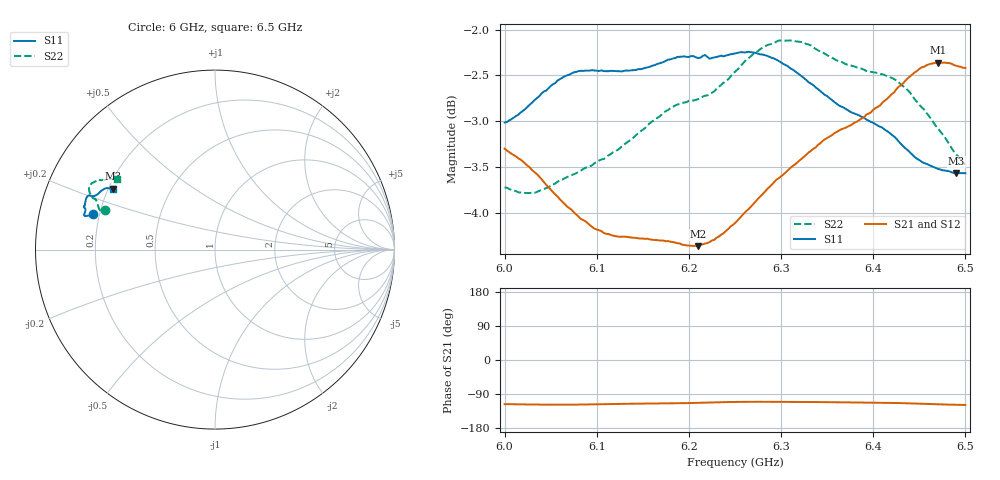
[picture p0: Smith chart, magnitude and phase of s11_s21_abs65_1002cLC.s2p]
! MS46122B
! 1919307/90821646
! 6/13/2022 11:58:03 AM
! C:\USERS\PC_\DESKTOP\CARACTERIZACION\MEDICIONES\BANCHA ESTRECHA\6_65_GHZ\S11_S21_ABS65_1002CL.S2P
! CHANNEL.1
! TR.MEASUREMENT
! CORRECTED.DATA
# GHZ S RI R 50.0
! FREQ.GHZ  S11RE  S11IM  S21RE  S21IM  S12RE  S12IM  S22RE  S22IM
!; PortSelection: Port_12
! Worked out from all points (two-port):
!   201 points, 6 GHz to 6.5 GHz, reference 50 ohm
!   highest |S21| = -2.36 dB at 6.47 GHz (marker M1); lowest = -4.4 dB at 6.21 GHz (marker M2)
!   |S21| within 3 dB of the highest: start of sweep to end of sweep
!   lowest |S11| = -3.6 dB at 6.49 GHz (marker M3), VSWR 4.94, Z = 10.9 + j13.2 ohm
!   |S11| at or under -10 dB: nowhere
!   |S22| runs from -3.8 to -2.1 dB; largest |S21 - S12| = 0.018
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6  -0.6792 0.1958  -0.3052 -0.6121  -0.2931 -0.6088  -0.6136 0.2188
6.0325  -0.7017 0.1902  -0.3077 -0.5886  -0.2998 -0.5842  -0.6039 0.2325
6.0575  -0.7211 0.1876  -0.3029 -0.5683  -0.2918 -0.5617  -0.6145 0.2304
6.085  -0.7294 0.1918  -0.289 -0.5547  -0.2761 -0.5485  -0.6296 0.219
6.1025  -0.7269 0.2003  -0.2789 -0.5509  -0.264 -0.5452  -0.6383 0.2163
6.115  -0.7247 0.2091  -0.2731 -0.5498  -0.2575 -0.5452  -0.6424 0.2209
6.1675  -0.7254 0.2307  -0.2556 -0.5534  -0.2383 -0.5505  -0.6593 0.2684
6.19  -0.7304 0.2361  -0.248 -0.5544  -0.2304 -0.5541  -0.6659 0.2825
6.21  -0.7274 0.2412  -0.2373 -0.5567  -0.2203 -0.5591  -0.6707 0.283
6.235  -0.7242 0.258  -0.2246 -0.5715  -0.2088 -0.5738  -0.6825 0.2886
6.25  -0.7207 0.2738  -0.2201 -0.5828  -0.2053 -0.5863  -0.6905 0.3009
6.2675  -0.715 0.2912  -0.2202 -0.5968  -0.2045 -0.6016  -0.6986 0.3199
6.285  -0.7075 0.3001  -0.2252 -0.61  -0.2096 -0.6149  -0.7021 0.3374
6.3125  -0.6929 0.301  -0.2342 -0.6269  -0.2191 -0.6345  -0.696 0.3597
6.335  -0.6782 0.298  -0.2435 -0.6391  -0.2299 -0.6476  -0.682 0.3722
6.3575  -0.6578 0.306  -0.255 -0.6489  -0.2423 -0.6583  -0.6636 0.3816
6.3825  -0.6351 0.326  -0.2669 -0.6554  -0.2569 -0.667  -0.6487 0.3908
6.4175  -0.6084 0.3417  -0.2871 -0.6714  -0.2786 -0.6812  -0.6404 0.3875
6.44  -0.5886 0.3419  -0.3095 -0.682  -0.3048 -0.6909  -0.6227 0.3881
6.47  -0.5748 0.3383  -0.3444 -0.6798  -0.3405 -0.6839  -0.5817 0.393
6.49  -0.5697 0.3395  -0.3585 -0.6691  -0.3545 -0.6704  -0.5533 0.3935
6.5  -0.5695 0.3399  -0.3631 -0.6642  -0.3584 -0.6647  -0.5444 0.3911
